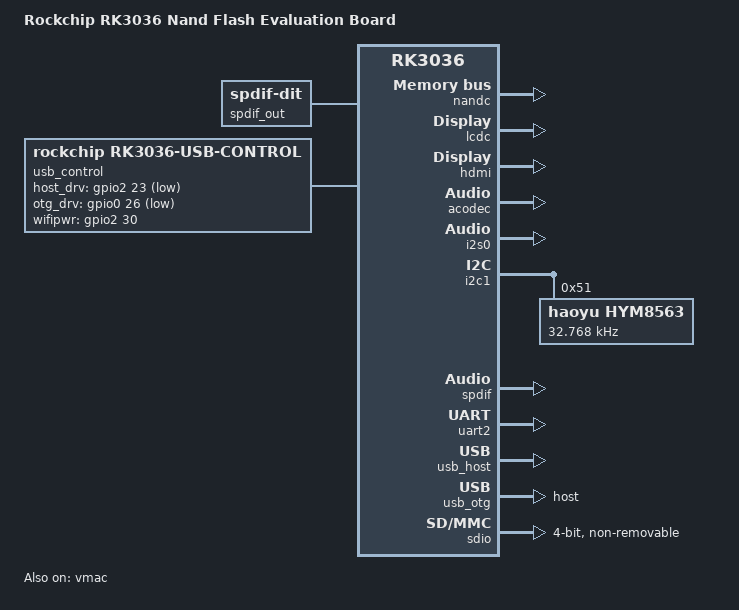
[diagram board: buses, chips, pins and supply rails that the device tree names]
/*
 * This file is dual-licensed: you can use it either under the terms
 * of the GPL or the X11 license, at your option. Note that this dual
 * licensing only applies to this file, and not this project as a
 * whole.
 *
 *  a) This file is free software; you can redistribute it and/or
 *     modify it under the terms of the GNU General Public License as
 *     published by the Free Software Foundation; either version 2 of the
 *     License, or (at your option) any later version.
 *
 *     This file is distributed in the hope that it will be useful,
 *     but WITHOUT ANY WARRANTY; without even the implied warranty of
 *     MERCHANTABILITY or FITNESS FOR A PARTICULAR PURPOSE.  See the
 *     GNU General Public License for more details.
 *
 *  Or, alternatively,
 *
 *  b) Permission is hereby granted, free of charge, to any person
 *     obtaining a copy of this software and associated documentation
 *     files (the "Software"), to deal in the Software without
 *     restriction, including without limitation the rights to use,
 *     copy, modify, merge, publish, distribute, sublicense, and/or
 *     sell copies of the Software, and to permit persons to whom the
 *     Software is furnished to do so, subject to the following
 *     conditions:
 *
 *     The above copyright notice and this permission notice shall be
 *     included in all copies or substantial portions of the Software.
 *
 *     THE SOFTWARE IS PROVIDED "AS IS", WITHOUT WARRANTY OF ANY KIND,
 *     EXPRESS OR IMPLIED, INCLUDING BUT NOT LIMITED TO THE WARRANTIES
 *     OF MERCHANTABILITY, FITNESS FOR A PARTICULAR PURPOSE AND
 *     NONINFRINGEMENT. IN NO EVENT SHALL THE AUTHORS OR COPYRIGHT
 *     HOLDERS BE LIABLE FOR ANY CLAIM, DAMAGES OR OTHER LIABILITY,
 *     WHETHER IN AN ACTION OF CONTRACT, TORT OR OTHERWISE, ARISING
 *     FROM, OUT OF OR IN CONNECTION WITH THE SOFTWARE OR THE USE OR
 *     OTHER DEALINGS IN THE SOFTWARE.
 */

/dts-v1/;

#include "rk3036.dtsi"

/ {
	model = "Rockchip RK3036 Nand Flash Evaluation Board";
	compatible = "rockchip,rk3036-nand-evb", "rockchip,rk3036";

	sound {
		compatible = "rockchip,rockchip-audio-rk3036";
		rockchip,model = "I2S-INNO-RK3036";
		rockchip,i2s-controller = <&i2s0>;
		rockchip,audio-codec = <&acodec>;
	};

	sound_spdif {
		compatible = "rockchip,rockchip-spdif-card";
		rockchip,model = "SPDIFCARD-ROCKCHIP";
		rockchip,spdif-controller = <&spdif>;
		rockchip,audio-codec = <&spdif_out>;
	};

	spdif_out: spdif-out {
		compatible = "linux,spdif-dit";
		#sound-dai-cells = <0>;
	};

	usb_control {
		compatible = "rockchip,rk3036-usb-control";
		host_drv_gpio = <&gpio2 23 GPIO_ACTIVE_LOW>;
		otg_drv_gpio = <&gpio0 26 GPIO_ACTIVE_LOW>;
		wifipwr-gpios = <&gpio2 30 GPIO_ACTIVE_HIGH>;
	};
};

&cpu0 {
	operating-points = <
		/* KHz    uV */
		 800000 1000000
	>;
};

&nandc {
	status = "okay";
};

&lcdc {
	status = "okay";
};

&lcdc_mmu {
	status = "okay";
};

&hdmi {
	status = "okay";
};

&acodec {
	status = "okay";
};

&i2s0 {
	status = "okay";
};

&i2c1 {
	status = "okay";

        hym8563: hym8563@51 {
		compatible = "haoyu,hym8563";
		reg = <0x51>;
		#clock-cells = <0>;
		clock-frequency = <32768>;
		clock-output-names = "xin32k";
	};
};

&spdif {
	status = "okay";
};

&uart2 {
	status = "okay";
};

&usb_host {
	status = "okay";
};

&usb_otg {
	status = "okay";

	dr_mode = "host";
};

&sdio {
	status = "okay";

	broken-cd;
	bus-width = <4>;
	cap-sdio-irq;
	keep-power-in-suspend;
	non-removable;
	num-slots = <1>;
	default-sample-phase = <90>;
	pinctrl-names = "default";
	pinctrl-0 = <&sdio_clk &sdio_cmd &sdio_bus4>;
};

&vmac {
	status = "okay";

	reset-gpio = <&gpio2 22 GPIO_ACTIVE_LOW>;

	assigned-clocks = <&cru SCLK_MACPLL>;
	assigned-clock-parents = <&cru PLL_APLL>;
};
